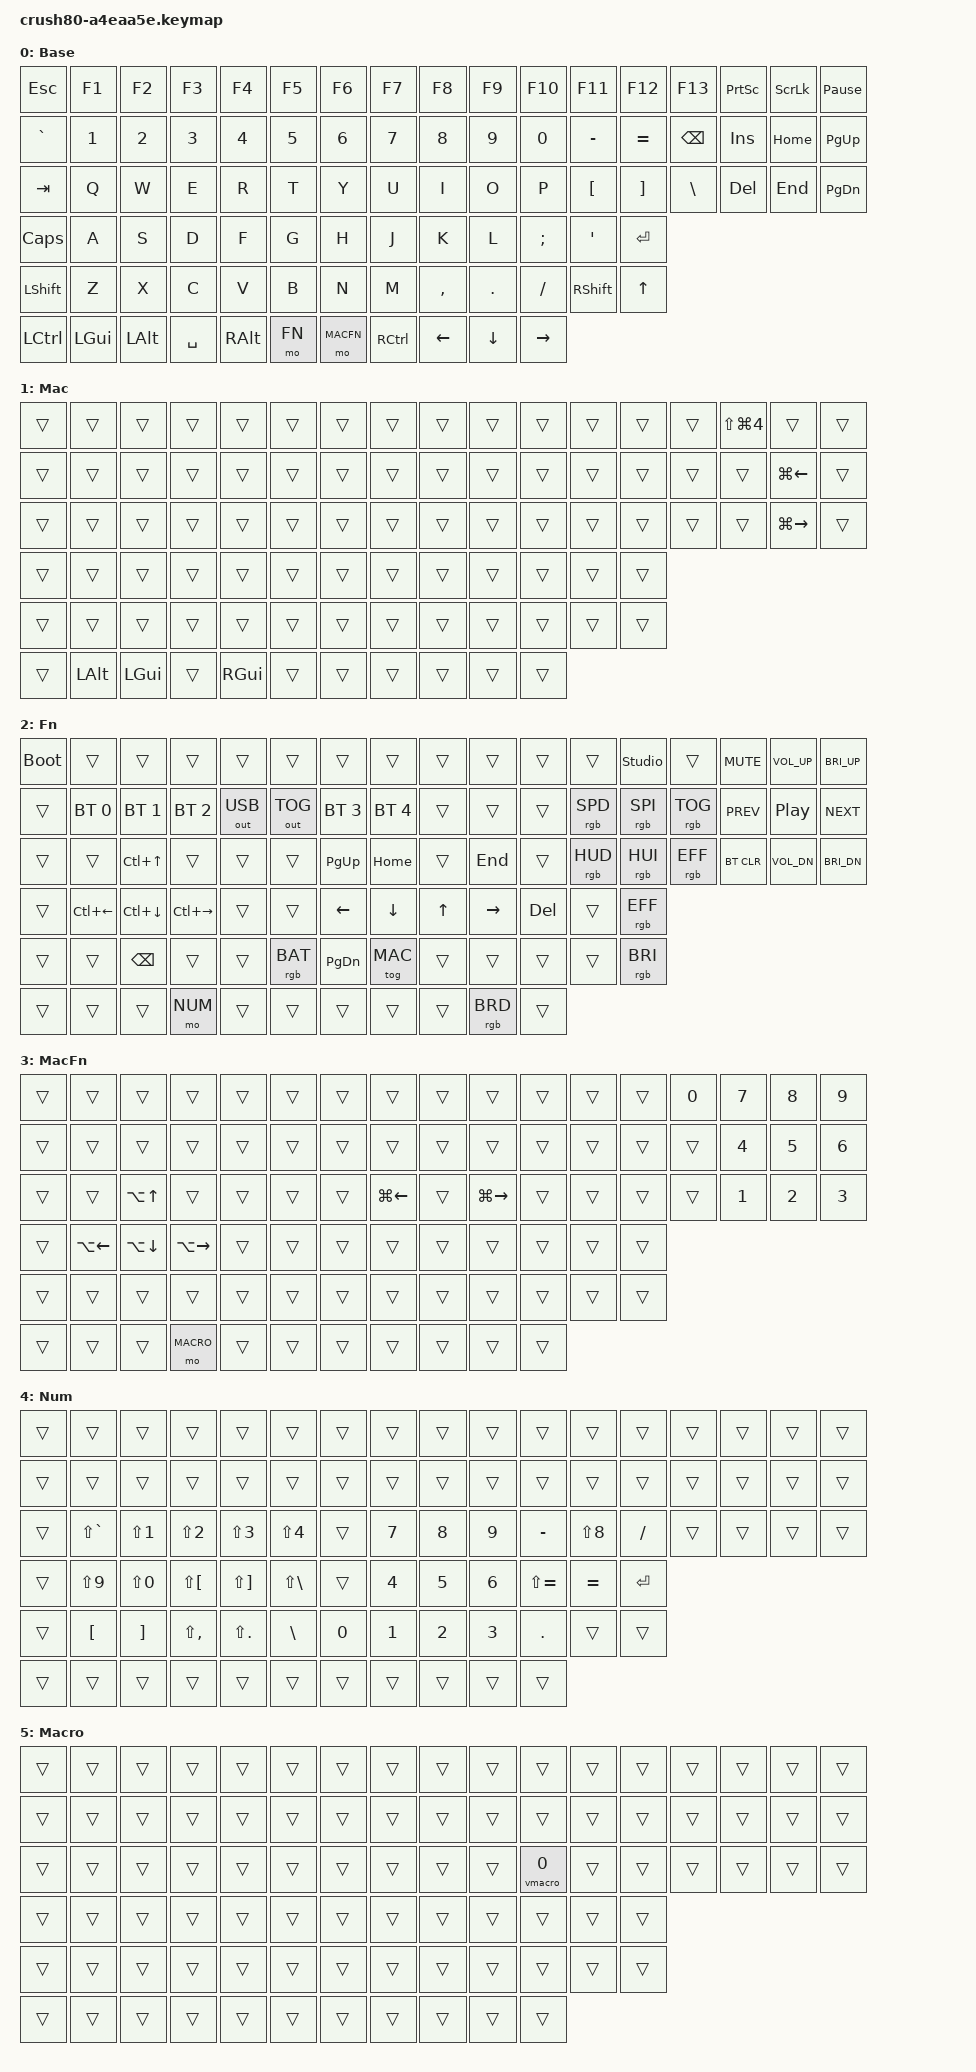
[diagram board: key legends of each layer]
/*
 * Wobkey Crush 80 — ZMK keymap
 *
 * Base is a plain 80% layout: every key does what it says, Caps is Caps Lock, and
 * nothing waits on a timer (no hold-taps anywhere). Everything extra sits behind
 * the Fn key, which is a plain hold, and every layer here can be edited in VIA.
 *
 *   hold Fn              system controls + navigation (the IJKL cluster)
 *   hold Fn and Space    numpad and bracket symbols
 *   Fn+M                 Mac mode on / off (modifiers in Mac order, Cmd shortcuts)
 *   Shift + Shift        Caps Word (capitals until the next space or punctuation)
 *
 * Layers (the number is what VIA and ZMK Studio show)
 *   0 Base    1 Mac     2 Fn      3 MacFn   4 Num     5 Macro   6-8 spare (empty, yours)
 *
 * The order matters, and it is checked by ZMK from the highest layer down: Fn
 * must sit above Mac so Mac cannot swallow Fn's keys, MacFn above Fn and Num above
 * MacFn so each can override the one below it, and spare layers last (ZMK numbers
 * enabled layers first). Bump CONFIG_CRUSH80_KEYMAP_REV when you change the layer
 * list: it clears live edits (VIA, Studio) saved for the old layout.
 */

/* Build every ZMK behavior, not only the ones this file references, so that
 * ZMK Studio and VIA can assign them (&to, &lt, &mt, &sk, ...). The
 * studio-rpc-usb-uart snippet normally defines this; the Bluetooth Studio
 * transport used here does not. Must come before behaviors.dtsi. */
#define ZMK_BEHAVIORS_KEEP_ALL

#include <behaviors.dtsi>
#include <dt-bindings/zmk/keys.h>
#include <dt-bindings/zmk/bt.h>
#include <dt-bindings/zmk/outputs.h>
#include <dt-bindings/zmk/rgb.h>
#include <rainy_rgb.dtsi>
#include <via_macro.dtsi>
#include <dt-bindings/rainy_rgb.h>

#define BASE  0
#define MAC   1
#define FN    2
#define MACFN 3
#define NUM   4
#define MACRO 5

/* Key positions for the combo below (row 4 of the matrix: LShift ... RShift). */
#define POS_LSHIFT 64
#define POS_RSHIFT 75

/ {
	combos {
		compatible = "zmk,combos";

		/* Both Shift keys together: Caps Word. */
		caps_word_combo {
			key-positions = <POS_LSHIFT POS_RSHIFT>;
			bindings = <&caps_word>;
			timeout-ms = <40>;
		};
	};

	/* Mac mode with Fn held: swap in the Mac versions of the keys that differ. */
	conditional_layers {
		compatible = "zmk,conditional-layers";

		mac_fn {
			if-layers = <MAC FN>;
			then-layer = <MACFN>;
		};
	};

	keymap {
		compatible = "zmk,keymap";

		/*
		 * Layer 0: Base. Plain 80%, nothing else. Fn opens layer 2.
		 */
		default_layer {
			display-name = "Base";
			bindings = <
				&kp ESC          &kp F1           &kp F2           &kp F3           &kp F4           &kp F5           &kp F6           &kp F7           &kp F8           &kp F9           &kp F10          &kp F11          &kp F12          &kp F13          &kp PSCRN        &kp SLCK         &kp PAUSE_BREAK
				&kp GRAVE        &kp N1           &kp N2           &kp N3           &kp N4           &kp N5           &kp N6           &kp N7           &kp N8           &kp N9           &kp N0           &kp MINUS        &kp EQUAL        &kp BSPC         &kp INS          &kp HOME         &kp PG_UP
				&kp TAB          &kp Q            &kp W            &kp E            &kp R            &kp T            &kp Y            &kp U            &kp I            &kp O            &kp P            &kp LBKT         &kp RBKT         &kp BSLH         &kp DEL          &kp END          &kp PG_DN
				&kp CAPS         &kp A            &kp S            &kp D            &kp F            &kp G            &kp H            &kp J            &kp K            &kp L            &kp SEMI         &kp SQT          &kp RET
				&kp LSHFT        &kp Z            &kp X            &kp C            &kp V            &kp B            &kp N            &kp M            &kp COMMA        &kp DOT          &kp FSLH         &kp RSHFT        &kp UP
				&kp LCTRL        &kp LGUI         &kp LALT         &kp SPACE        &kp RALT         &mo FN           &mo MACFN        &kp RCTRL        &kp LEFT         &kp DOWN         &kp RIGHT
			>;
		};

		/*
		 * Layer 1: Mac (Fn+M toggles it). Only what differs on a Mac:
		 *   Win <-> Alt and the right Alt <-> Super swap, giving Ctrl Opt Cmd Space Cmd
		 *   Opt in Apple's order, so Cmd+C is a thumb away.
		 *   PrtSc = Cmd+Shift+4 (screenshot a region)
		 *   Home / End = Cmd+Left / Right (start / end of line, as on Windows and Linux)
		 */
		mac_layer {
			display-name = "Mac";
			bindings = <
				&trans           &trans           &trans           &trans           &trans           &trans           &trans           &trans           &trans           &trans           &trans           &trans           &trans           &trans           &kp LS(LG(N4))   &trans           &trans
				&trans           &trans           &trans           &trans           &trans           &trans           &trans           &trans           &trans           &trans           &trans           &trans           &trans           &trans           &trans           &kp LG(LEFT)     &trans
				&trans           &trans           &trans           &trans           &trans           &trans           &trans           &trans           &trans           &trans           &trans           &trans           &trans           &trans           &trans           &kp LG(RIGHT)    &trans
				&trans           &trans           &trans           &trans           &trans           &trans           &trans           &trans           &trans           &trans           &trans           &trans           &trans
				&trans           &trans           &trans           &trans           &trans           &trans           &trans           &trans           &trans           &trans           &trans           &trans           &trans
				&trans           &kp LALT         &kp LGUI         &trans           &kp RGUI         &trans           &trans           &trans           &trans           &trans           &trans
			>;
		};

		/*
		 * Layer 2: Fn (hold). The highest of the layers you hold, so nothing above it
		 * can hide these keys.
		 *
		 *   system       Esc bootloader   F12 Studio unlock   PrtSc/ScrLk/Pause mute vol+ bri+
		 *                Ins/Home/PgUp prev play next   End/PgDn vol- bri-
		 *   connection   1 2 3 6 7 Bluetooth 1-5   4 USB   5 toggle USB/Bluetooth   Del clear BT pairing
		 *   RGB          Bspc on/off   - = speed   [ ] hue   \ Enter effect   Up/Down brightness   B battery
		 *   modes        M Mac mode
		 *   navigation   I J K L arrows   U O Home End   Y N PgUp PgDn   H Bspc   ; Del
		 *   jumps        A D word left / right   W S paragraph up / down
		 *   Space        hold for the Num layer
		 *
		 * Shift, Ctrl, Alt and Cmd stay as they are, so Shift+Fn+L selects and
		 * Shift+Fn+D selects a word. A D W S send Ctrl+Left / Right / Up / Down
		 * (MacFn turns them into Option+arrows on a Mac).
		 */
		fn_layer {
			display-name = "Fn";
			bindings = <
				&bootloader      &trans           &trans           &trans           &trans           &trans           &trans           &trans           &trans           &trans           &trans           &trans           &studio_unlock   &trans           &kp C_MUTE       &kp C_VOL_UP     &kp C_BRI_UP
				&trans           &bt BT_SEL 0     &bt BT_SEL 1     &bt BT_SEL 2     &out OUT_USB     &out OUT_TOG     &bt BT_SEL 3     &bt BT_SEL 4     &trans           &trans           &trans           &rgb RGB_SPD     &rgb RGB_SPI     &rgb RGB_TOG     &kp C_PREV       &kp C_PP         &kp C_NEXT
				&trans           &trans           &kp LC(UP)       &trans           &trans           &trans           &kp PG_UP        &kp HOME         &trans           &kp END          &trans           &rgb RGB_HUD     &rgb RGB_HUI     &rgb RGB_EFF     &bt BT_CLR       &kp C_VOL_DN     &kp C_BRI_DN
				&trans           &kp LC(LEFT)     &kp LC(DOWN)     &kp LC(RIGHT)    &trans           &trans           &kp LEFT         &kp DOWN         &kp UP           &kp RIGHT        &kp DEL          &trans           &rgb RGB_EFF
				&trans           &trans           &kp BSPC         &trans           &trans           &rgb RGB_BAT     &kp PG_DN        &tog MAC         &trans           &trans           &trans           &trans           &rgb RGB_BRI
				&trans           &trans           &trans           &mo NUM          &trans           &trans           &trans           &trans           &trans           &rgb RGB_BRD     &trans
			>;
		};

		/*
		 * Layer 3: MacFn (switches on by itself when Mac and Fn are both active).
		 * U / O become Cmd+Left / Right, so Fn+U / O still mean start / end of line,
		 * and A D W S become Option+arrows (word and paragraph, the Mac way).
		 */
		mac_fn_layer {
			display-name = "MacFn";
			bindings = <
				&trans           &trans           &trans           &trans           &trans           &trans           &trans           &trans           &trans           &trans           &trans           &trans           &trans           &kp N0           &kp N7           &kp N8           &kp N9
				&trans           &trans           &trans           &trans           &trans           &trans           &trans           &trans           &trans           &trans           &trans           &trans           &trans           &trans           &kp N4           &kp N5           &kp N6
				&trans           &trans           &kp LA(UP)       &trans           &trans           &trans           &trans           &kp LG(LEFT)     &trans           &kp LG(RIGHT)    &trans           &trans           &trans           &trans           &kp N1           &kp N2           &kp N3
				&trans           &kp LA(LEFT)     &kp LA(DOWN)     &kp LA(RIGHT)    &trans           &trans           &trans           &trans           &trans           &trans           &trans           &trans           &trans
				&trans           &trans           &trans           &trans           &trans           &trans           &trans           &trans           &trans           &trans           &trans           &trans           &trans
				&trans           &trans           &trans           &mo MACRO        &trans           &trans           &trans           &trans           &trans           &trans           &trans
			>;
		};

		/*
		 * Layer 4: Num (hold Fn and Space). Above Fn so it can reuse the IJKL block.
		 *
		 *   right hand  7 8 9 -  /  4 5 6 + =  /  0 1 2 3 .      [ * ]  /  Enter
		 *   left hand   ~ ! @ # $  /  ( ) { } |  /  [ ] < > \

		 */
		num_layer {
			display-name = "Num";
			bindings = <
				&trans           &trans           &trans           &trans           &trans           &trans           &trans           &trans           &trans           &trans           &trans           &trans           &trans           &trans           &trans           &trans           &trans
				&trans           &trans           &trans           &trans           &trans           &trans           &trans           &trans           &trans           &trans           &trans           &trans           &trans           &trans           &trans           &trans           &trans
				&trans           &kp LS(GRAVE)    &kp LS(N1)       &kp LS(N2)       &kp LS(N3)       &kp LS(N4)       &trans           &kp N7           &kp N8           &kp N9           &kp MINUS        &kp LS(N8)       &kp FSLH         &trans           &trans           &trans           &trans
				&trans           &kp LS(N9)       &kp LS(N0)       &kp LS(LBKT)     &kp LS(RBKT)     &kp LS(BSLH)     &trans           &kp N4           &kp N5           &kp N6           &kp LS(EQUAL)    &kp EQUAL        &kp RET
				&trans           &kp LBKT         &kp RBKT         &kp LS(COMMA)    &kp LS(DOT)      &kp BSLH         &kp N0           &kp N1           &kp N2           &kp N3           &kp DOT          &trans           &trans
				&trans           &trans           &trans           &trans           &trans           &trans           &trans           &trans           &trans           &trans           &trans
			>;
		};

		/*
		 * Layer 5: Macro (Mac mode + Fn + Space). P plays macro 0 (edit it in VIA).
		 * A real layer, not a spare one: ZMK only looks up keys in layers that are
		 * in the keymap file, so a macro key on a reserved spare layer never fires.
		 */
		macro_layer {
			display-name = "Macro";
			bindings = <
				&trans           &trans           &trans           &trans           &trans           &trans           &trans           &trans           &trans           &trans           &trans           &trans           &trans           &trans           &trans           &trans           &trans
				&trans           &trans           &trans           &trans           &trans           &trans           &trans           &trans           &trans           &trans           &trans           &trans           &trans           &trans           &trans           &trans           &trans
				&trans           &trans           &trans           &trans           &trans           &trans           &trans           &trans           &trans           &trans           &vmacro 0        &trans           &trans           &trans           &trans           &trans           &trans
				&trans           &trans           &trans           &trans           &trans           &trans           &trans           &trans           &trans           &trans           &trans           &trans           &trans
				&trans           &trans           &trans           &trans           &trans           &trans           &trans           &trans           &trans           &trans           &trans           &trans           &trans
				&trans           &trans           &trans           &trans           &trans           &trans           &trans           &trans           &trans           &trans           &trans
			>;
		};

		/* Layers 6-8: empty slots. VIA shows them as spare layers; ZMK Studio can
		 * turn them into new layers. They must stay last: ZMK numbers the enabled
		 * layers first, so a real layer placed after a reserved one is never
		 * looked up. */
		spare_layer_1 {
			status = "reserved";
		};

		spare_layer_2 {
			status = "reserved";
		};

		spare_layer_3 {
			status = "reserved";
		};
	};
};
